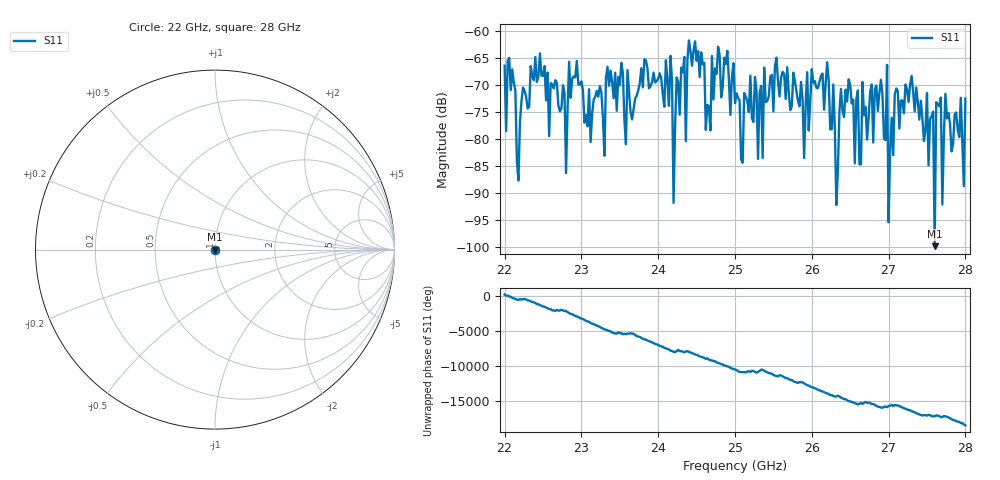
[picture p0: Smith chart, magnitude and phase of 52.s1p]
#  HZ  S  RI  R  50.00
! Rohde & Schwarz ZVA40 4Ports - Version 3.90 - 1145.1110k42 SN: 100403
! Date: 2023-10-04 09:19:33
! Measurement: S12
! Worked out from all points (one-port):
!   301 points, 22 GHz to 28 GHz, reference 50 ohm
!   lowest |S11| = -99.9 dB at 27.6 GHz (marker M1), VSWR 1.00, Z = 50 + j0.000702 ohm
!   |S11| at or under -10 dB: start of sweep to end of sweep
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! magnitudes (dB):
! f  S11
! 22 GHz  -66.5
! 22.02 GHz  -78.6
! 22.06 GHz  -65.0
! 22.16 GHz  -84.2
! 22.4 GHz  -64.8
! 22.56 GHz  -67.8
! 22.58 GHz  -79.5
! 22.76 GHz  -70.1
! 23.5 GHz  -70.1
! 23.58 GHz  -81.0
! 23.6 GHz  -67.3
! 24.16 GHz  -64.6
! 24.2 GHz  -91.9
! 24.26 GHz  -69.4
! 24.34 GHz  -64.8
! 24.36 GHz  -80.5
! 24.4 GHz  -61.8
! 25 GHz  -73.4
! 25.76 GHz  -67.8
! 25.9 GHz  -83.6
! 25.94 GHz  -67.7
! 25.96 GHz  -78.5
! 26 GHz  -67.1
! 26.32 GHz  -92.3
! 26.5 GHz  -70.0
! 27.26 GHz  -73.2
! 27.6 GHz  -99.9
! 28 GHz  -72.5
